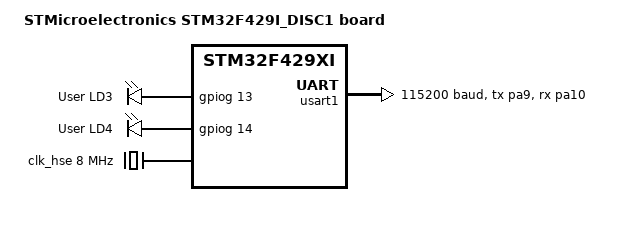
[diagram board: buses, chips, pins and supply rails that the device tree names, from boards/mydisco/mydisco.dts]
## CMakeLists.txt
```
cmake_minimum_required(VERSION 3.20.0)

list(APPEND BOARD_ROOT ${CMAKE_CURRENT_SOURCE_DIR})
find_package(Zephyr REQUIRED)
project(my_zephyr_app)

target_sources(app PRIVATE src/main.cpp)
add_subdirectory(drivers/dummy_driver)
```

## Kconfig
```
menuconfig LED_SUBSYSTEM
    bool "Enable LED Subsystem"
    default y

choice
    prompt "LED blink sleep time"
    default LED_SLEEP_TIME_MS_750
    depends on LED_SUBSYSTEM

    config LED_SLEEP_TIME_MS_250
        bool "Fast (250ms)"

    config LED_SLEEP_TIME_MS_750
        bool "Medium (750ms)"

    config LED_SLEEP_TIME_MS_1500
        bool "Slow (1500ms)"
endchoice

config LED_SLEEP_TIME_MS
    int
    depends on LED_SUBSYSTEM
    default 250 if LED_SLEEP_TIME_MS_250
    default 750 if LED_SLEEP_TIME_MS_750
    default 1500 if LED_SLEEP_TIME_MS_1500
    default 0

menuconfig LED_ADVANCED_SETTINGS
    bool "Advanced LED settings"
    default y
    depends on LED_SUBSYSTEM

if LED_ADVANCED_SETTINGS
config LED_BRIGHTNESS
    int "LED brightness (0-100)"
    range 0 100
    default 100

config LED_FADE_DURATION_MS
    int "LED fade duration (ms)"
    default 500
    range 0 5000

menu "Expert settings"
    config LED_DEBUG
        bool "Enable LED debugging"

    config LED_CUSTOM_BLINK_PATTERN
        bool "Custom blink pattern"
endmenu
endif # LED_ADVANCED_SETTINGS

source "Kconfig.zephyr"
```

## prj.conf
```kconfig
CONFIG_GPIO=y
CONFIG_LOG=y

CONFIG_LED_SLEEP_TIME_MS_750=y
CONFIG_DUMMY_DRIVER=y

CONFIG_SHELL=y
```

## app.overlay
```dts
/ {
    aliases {
        app-led = &green_led_3;
    };

    dummudriver0: dummy_driver {
        compatible = "dummy,driver";
        calibration = <100>;
        status = "okay";
    };
};
```

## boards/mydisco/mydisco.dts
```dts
/*
 * Copyright (c) 2017 Linaro Limited
 * Copyright (c) 2024 STMicroelectronics
 *
 * SPDX-License-Identifier: Apache-2.0
 */

/dts-v1/;
#include <st/f4/stm32f429Xi.dtsi>
#include <st/f4/stm32f429zitx-pinctrl.dtsi>

/ {
	model = "STMicroelectronics STM32F429I_DISC1 board";
	compatible = "st,stm32f4discovery";

	chosen {
		zephyr,console = &usart1;
		zephyr,shell-uart = &usart1;
		zephyr,sram = &sram0;
		zephyr,flash = &flash0;
	};

	leds {
		compatible = "gpio-leds";

		green_led_3: led_3 {
			gpios = <&gpiog 13 GPIO_ACTIVE_HIGH>;
			label = "User LD3";
		};

		red_led_4: led_4 {
			gpios = <&gpiog 14 GPIO_ACTIVE_HIGH>;
			label = "User LD4";
		};
	};

	aliases {
		led0 = &green_led_3;
	};
};

&clk_hse {
	clock-frequency = <DT_FREQ_M(8)>;
	status = "okay";
};

&pll {
	div-m = <8>;
	mul-n = <336>;
	div-p = <2>;
	div-q = <7>;
	clocks = <&clk_hse>;
	status = "okay";
};

&rcc {
	clocks = <&pll>;
	clock-frequency = <DT_FREQ_M(168)>;
	ahb-prescaler = <1>;
	apb1-prescaler = <4>;
	apb2-prescaler = <2>;
};

&usart1 {
	pinctrl-0 = <&usart1_tx_pa9 &usart1_rx_pa10>;
	pinctrl-names = "default";
	current-speed = <115200>;
	status = "okay";
};
```

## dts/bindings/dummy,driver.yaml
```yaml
description: Dummy Driver

compatible: "dummy,driver"

include: base.yaml

properties:
  calibration:
    type: int
    required: true
```

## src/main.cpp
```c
#include <zephyr/drivers/gpio.h>
#include <zephyr/kernel.h>
#include <zephyr/logging/log.h>
#include <zephyr/drivers/sensor.h>
#include <drivers/dummy_driver/dummy_driver.h>

LOG_MODULE_REGISTER(main, LOG_LEVEL_INF);

const struct device* driver = DEVICE_DT_GET(DT_NODELABEL(dummudriver0));

int main(void)
{
    bool invert = true;
    struct sensor_value val;

    while (1) {
        if (invert) 
            invert = false;
        else
            invert = true;

        dummy_driver_set_invert(driver, invert);
        sensor_sample_fetch(driver);
        sensor_channel_get(driver, SENSOR_CHAN_AMBIENT_TEMP, &val);
        k_msleep(5000);
    }
    return 0;
}
```
